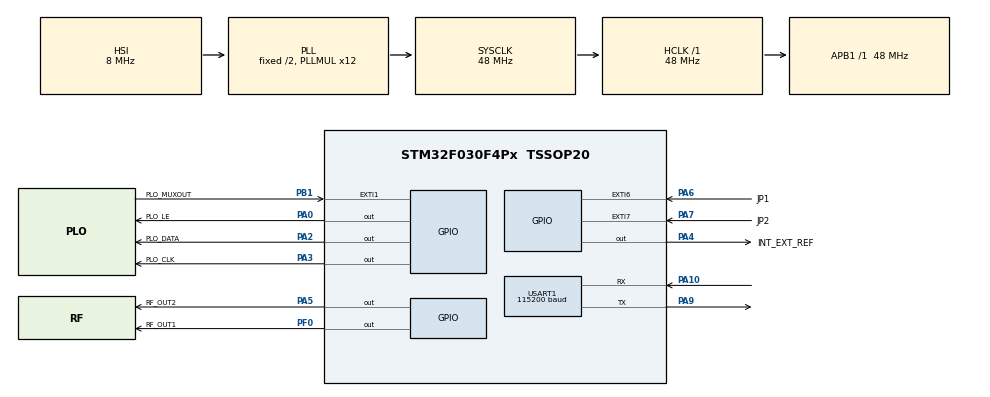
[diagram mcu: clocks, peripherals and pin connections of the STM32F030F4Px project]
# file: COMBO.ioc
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Mcu.Family=STM32F0
PA10.Mode=Asynchronous
USART1.BaudRate=115200
PA0.GPIO_Label=PLO_LE
PA6.GPIO_Label=JP1
RCC.SYSCLKSource=RCC_SYSCLKSOURCE_PLLCLK
ProjectManager.StackSize=0x400
USART1.VirtualMode-Asynchronous=VM_ASYNC
PA13.Signal=SYS_SWDIO
PA9.Mode=Asynchronous
ProjectManager.TargetToolchain=STM32CubeIDE
RCC.HCLKFreq_Value=48000000
TIM3.Period=499
PA9.Signal=USART1_TX
USART1.Parity=PARITY_NONE
RCC.AHBFreq_Value=48000000
PA5.Signal=GPIO_Output
PF0-OSC_IN.GPIO_Label=RF_OUT1
board=custom
RCC.PLLMUL=RCC_PLL_MUL12
NVIC.TIM3_IRQn=true\:0\:0\:false\:false\:true\:true\:true
PA14.Mode=Serial_Wire
TIM3.Prescaler=48000
PB1.GPIO_Label=PLO_MUXOUT
PA13.Mode=Serial_Wire
Mcu.Name=STM32F030F4Px
PA2.Signal=GPIO_Output
PA0.Signal=GPIO_Output
PA4.Signal=GPIO_Output
RCC.SYSCLKFreq_VALUE=48000000
Mcu.Package=TSSOP20
USART1.OverSampling=UART_OVERSAMPLING_8
PB1.Signal=GPXTI1
PA6.Signal=GPXTI6
PA7.GPIO_Label=JP2
PA5.GPIO_Label=RF_OUT2
PA2.GPIO_Label=PLO_DATA
USART1.MSBFirstParam=ADVFEATURE_MSBFIRST_DISABLE
PA10.Signal=USART1_RX
PA14.Signal=SYS_SWCLK
ProjectManager.HeapSize=0x200
RCC.APB1TimFreq_Value=48000000
PF0-OSC_IN.Signal=GPIO_Output
USART1.OneBitSampling=UART_ONE_BIT_SAMPLE_DISABLE
NVIC.USART1_IRQn=true\:0\:0\:false\:false\:true\:true\:true
RCC.APB1Freq_Value=48000000
PA4.GPIO_Label=INT_EXT_REF
VP_TIM3_VS_ClockSourceINT.Mode=Internal
PA3.GPIO_Label=PLO_CLK
PA3.Signal=GPIO_Output
PA7.Signal=GPXTI7

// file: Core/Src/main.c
/* USER CODE BEGIN Header */
/**
 ******************************************************************************
 * @file           : main.c
 * @brief          : Main program body
 ******************************************************************************
 * @attention
 *
 * <h2><center>&copy; Copyright (c) 2021 STMicroelectronics.
 * All rights reserved.</center></h2>
 *
 * This software component is licensed by ST under BSD 3-Clause license,
 * the "License"; You may not use this file except in compliance with the
 * License. You may obtain a copy of the License at:
 *                        opensource.org/licenses/BSD-3-Clause
 *
 ******************************************************************************
 */
/* USER CODE END Header */
#include "main.h"
#include "tim.h"
#include "usart.h"
#include "gpio.h"

/* USER CODE BEGIN Includes */
#include "max2871.h"
#include "stdlib.h"
#include "stdio.h"
/* USER CODE END Includes */

/* USER CODE BEGIN PTD */
uint32_t DEF_MEMORY1_REG0 = 13107200; /**< Default memory 1 register 0 value  */ // Dec : 9830400 - 19005440
uint32_t DEF_MEMORY1_REG1 = 1073775593; /**< Default memory 1 register 1 value  */
uint32_t DEF_MEMORY1_REG2 = 201367362; /**< Default memory 1 register 2 value  */
uint32_t DEF_MEMORY1_REG3 = 62003; /**< Default memory 1 register 3 value  */
uint32_t DEF_MEMORY1_REG4 = 1612071140; /**< Default memory 1 register 4 value  */
uint32_t DEF_MEMORY1_REG5 = 4194309; /**< Default memory 1 register 5 value  */

/* USER CODE END PTD */

/* USER CODE BEGIN PM */
#define SIZE 1
uint8_t byte;
int u = 0;
_Bool s = 0;
char value[10];
uint32_t reg = 0;
//uint32_t refreg = 201367362;  // FOR verifying received data sequence
/* USER CODE END PM */

void SystemClock_Config(void);
/* USER CODE BEGIN PFP */
void HAL_UART_TxCpltCallback(UART_HandleTypeDef *huart) {
	if (huart->Instance == USART1)
		HAL_GPIO_TogglePin(GPIOA, INT_EXT_REF_Pin);
	plo_write_register(reg);
	//	SEND Value to SPI
}
/* USER CODE END PFP */

/* USER CODE BEGIN 0 */
void HAL_UART_RxCpltCallback(UART_HandleTypeDef *huart) {
	if (huart->Instance == USART1) {
		/* Transmit one byte with 100 ms timeout */
		//HAL_UART_Transmit_IT(&huart1, &byte, SIZE);
		if (s) {
			value[u++] = (char) byte;
			if (u == 10) {
				s = 0;  					 // Reset Start State
				value[u] = '\0'; // NULL termination for Converting Char to String
				reg = atoi(value);			 // String to uint32_t data
				//if(reg == refreg) 		 // FOR verifying received data sequence
				HAL_UART_Transmit_IT(&huart1, (uint8_t*) value, 11);
			}
		}
		if ((char) byte == 'a') {
			s = 1;
			u = 0;
		}

		/* Receive one byte in interrupt mode */
		HAL_UART_Receive_IT(&huart1, &byte, SIZE);
	}
}
/* USER CODE END 0 */

int main(void) {

	/* MCU Configuration--------------------------------------------------------*/

	/* Reset of all peripherals, Initializes the Flash interface and the Systick. */
	HAL_Init();

	/* Configure the system clock */
	SystemClock_Config();

	/* Initialize all configured peripherals */
	MX_GPIO_Init();
	MX_TIM3_Init();
	MX_USART1_UART_Init();
	/* USER CODE BEGIN 2 */

	HAL_UART_Receive_IT(&huart1, &byte, SIZE);

	/* USER CODE END 2 */

	/* Infinite loop */
	while (1) {

		/* USER CODE END 3 */
	}
}

void SystemClock_Config(void) {
	RCC_OscInitTypeDef RCC_OscInitStruct = { 0 };
	RCC_ClkInitTypeDef RCC_ClkInitStruct = { 0 };
	RCC_PeriphCLKInitTypeDef PeriphClkInit = { 0 };

	/** Initializes the RCC Oscillators according to the specified parameters
	 * in the RCC_OscInitTypeDef structure.
	 */
	RCC_OscInitStruct.OscillatorType = RCC_OSCILLATORTYPE_HSI;
	RCC_OscInitStruct.HSIState = RCC_HSI_ON;
	RCC_OscInitStruct.HSICalibrationValue = RCC_HSICALIBRATION_DEFAULT;
	RCC_OscInitStruct.PLL.PLLState = RCC_PLL_ON;
	RCC_OscInitStruct.PLL.PLLSource = RCC_PLLSOURCE_HSI;
	RCC_OscInitStruct.PLL.PLLMUL = RCC_PLL_MUL12;
	RCC_OscInitStruct.PLL.PREDIV = RCC_PREDIV_DIV1;
	if (HAL_RCC_OscConfig(&RCC_OscInitStruct) != HAL_OK) {
		Error_Handler();
	}
	/** Initializes the CPU, AHB and APB buses clocks
	 */
	RCC_ClkInitStruct.ClockType = RCC_CLOCKTYPE_HCLK | RCC_CLOCKTYPE_SYSCLK
			| RCC_CLOCKTYPE_PCLK1;
	RCC_ClkInitStruct.SYSCLKSource = RCC_SYSCLKSOURCE_PLLCLK;
	RCC_ClkInitStruct.AHBCLKDivider = RCC_SYSCLK_DIV1;
	RCC_ClkInitStruct.APB1CLKDivider = RCC_HCLK_DIV1;

	if (HAL_RCC_ClockConfig(&RCC_ClkInitStruct, FLASH_LATENCY_1) != HAL_OK) {
		Error_Handler();
	}
	PeriphClkInit.PeriphClockSelection = RCC_PERIPHCLK_USART1;
	PeriphClkInit.Usart1ClockSelection = RCC_USART1CLKSOURCE_PCLK1;
	if (HAL_RCCEx_PeriphCLKConfig(&PeriphClkInit) != HAL_OK) {
		Error_Handler();
	}
}

void Error_Handler(void) {
	__disable_irq();
	while (1) {
	}
}

/************************ (C) COPYRIGHT STMicroelectronics *****END OF FILE****/
